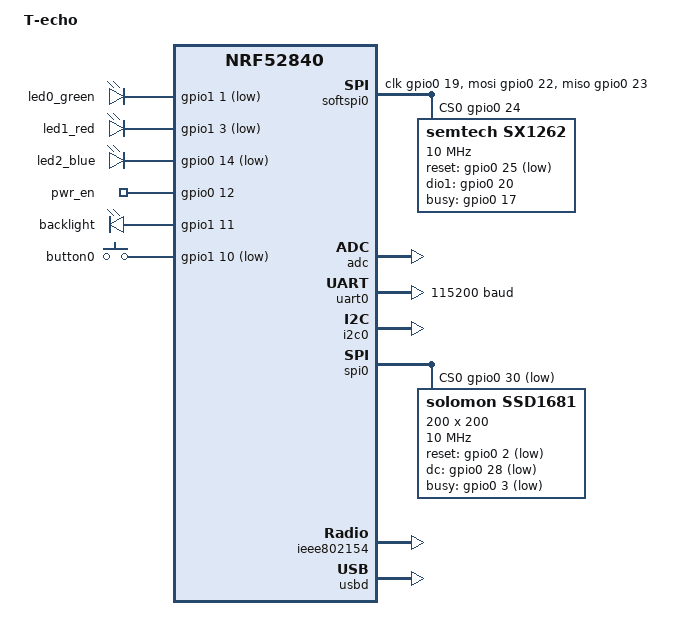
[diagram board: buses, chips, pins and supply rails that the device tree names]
/*
 * Copyright (c) 2017 Linaro Limited
 *
 * SPDX-License-Identifier: Apache-2.0
 */

/dts-v1/;
#include <nordic/nrf52840_qiaa.dtsi>
#include "t_echo-pinctrl.dtsi"

/ {
	model = "T-echo";
	compatible = "nordic,pca10056-dk";

	chosen {
		zephyr,console = &uart0;
		zephyr,shell-uart = &uart0;
		zephyr,uart-mcumgr = &uart0;
		zephyr,bt-mon-uart = &uart0;
		zephyr,bt-c2h-uart = &uart0;
		zephyr,sram = &sram0;
		zephyr,flash = &flash0;
		zephyr,code-partition = &slot0_partition;
		zephyr,ieee802154 = &ieee802154;
		zephyr,display = &ssd1681;
	};

	leds {
		compatible = "gpio-leds";
		led0_green: led_0 {
			gpios = <&gpio1 1 GPIO_ACTIVE_LOW>;
		};
		led1_red: led_1 {
			gpios = <&gpio1 3 GPIO_ACTIVE_LOW>;
		};
		led2_blue: led_2 {
			gpios = <&gpio0 14 GPIO_ACTIVE_LOW>;
		};
		pwr_en: pwr_en {
			gpios = <&gpio0 12 GPIO_ACTIVE_HIGH>;
		};
		backlight: backlight {
			gpios = <&gpio1 11 GPIO_ACTIVE_HIGH>;
		};
	};



	buttons {
		compatible = "gpio-keys";
		button0: button_0 {
			gpios = <&gpio1 10 (GPIO_PULL_UP | GPIO_ACTIVE_LOW)>;
		};
	};

	/* These aliases are provided for compatibility with samples */
	aliases {
		sw0 = &button0;
		led0 = &led0_green;
		led1 = &led1_red;
		led2 = &led2_blue;
		led0-green = &led0_green;
		led1-red   = &led1_red;
		led1-blue  = &led2_blue;
		pwr-en = &pwr_en;
		watchdog0 = &wdt0;
	};

	softspi0: softspi0 {
		compatible = "zephyr,spi-bitbang";
		status="okay";
		#address-cells = <1>;
		#size-cells = <0>;
		clk-gpios = <&gpio0 19 GPIO_ACTIVE_HIGH>;
		mosi-gpios = <&gpio0 22 GPIO_ACTIVE_HIGH>;
		miso-gpios = <&gpio0 23 GPIO_ACTIVE_HIGH>;
		cs-gpios = <&gpio0 24 GPIO_ACTIVE_HIGH>;


		sx1262: sx1262@0 {
			compatible ="semtech,sx1262";
			reg = <0>;
			spi-max-frequency = <10000000>;
			status = "okay";
			reset-gpios = <&gpio0 25 (GPIO_ACTIVE_LOW | GPIO_OPEN_DRAIN)>;
			dio1-gpios = <&gpio0 20 GPIO_ACTIVE_HIGH>;
			busy-gpios = <&gpio0 17 GPIO_ACTIVE_HIGH>;
		};
	};
};

&adc {
	status = "okay";
};

&gpiote {
	status = "okay";
};

&gpio0 {
	status = "okay";
};

&gpio1 {
	status = "okay";
};

&uart0 {
	compatible = "nordic,nrf-uart";
	current-speed = <115200>;
	status = "okay";
	pinctrl-0 = <&uart0_default>;
	pinctrl-1 = <&uart0_sleep>;
	pinctrl-names = "default", "sleep";
};

&i2c0 {
	compatible = "nordic,nrf-twi";
	status = "okay";
	pinctrl-0 = <&i2c0_default>;
	pinctrl-1 = <&i2c0_sleep>;
	pinctrl-names = "default", "sleep";
};

&spi0 {
	status = "okay";
	pinctrl-0 = <&spi0_default>;
	pinctrl-1 = <&spi0_sleep>;
	cs-gpios = <&gpio0 30 GPIO_ACTIVE_LOW>;
	pinctrl-names = "default", "sleep";

	ssd1681: ssd1681@0 {
		reg = <0>;
		compatible = "solomon,ssd1681";
		reset-gpios = <&gpio0 2 GPIO_ACTIVE_LOW>;
		dc-gpios = <&gpio0 28 GPIO_ACTIVE_LOW>;
		busy-gpios = <&gpio0 3 GPIO_ACTIVE_LOW>;
		spi-max-frequency = <10000000>;
		height = <200>;
		width = <200>;
	};
};



&ieee802154 {
	status = "okay";
};

&flash0 {
	partitions {
		compatible = "fixed-partitions";
		#address-cells = <1>;
		#size-cells = <1>;

		boot_partition: partition@0 {
			label = "mcuboot";
			reg = <0x00000000 0x0000C000>;
		};
		slot0_partition: partition@c000 {
			label = "image-0";
			reg = <0x0000C000 0x00067000>;
		};
		slot1_partition: partition@73000 {
			label = "image-1";
			reg = <0x00073000 0x00067000>;
		};
		scratch_partition: partition@da000 {
			label = "image-scratch";
			reg = <0x000da000 0x0001e000>;
		};

		/*
		 * The flash starting at 0x000f8000 and ending at
		 * 0x000fffff is reserved for use by the application.
		 */

		/*
		 * Storage partition will be used by FCB/LittleFS/NVS
		 * if enabled.
		 */
		storage_partition: partition@f8000 {
			label = "storage";
			reg = <0x000f8000 0x00008000>;
		};
	};
};

zephyr_udc0: &usbd {
	compatible = "nordic,nrf-usbd";
	status = "okay";
};
